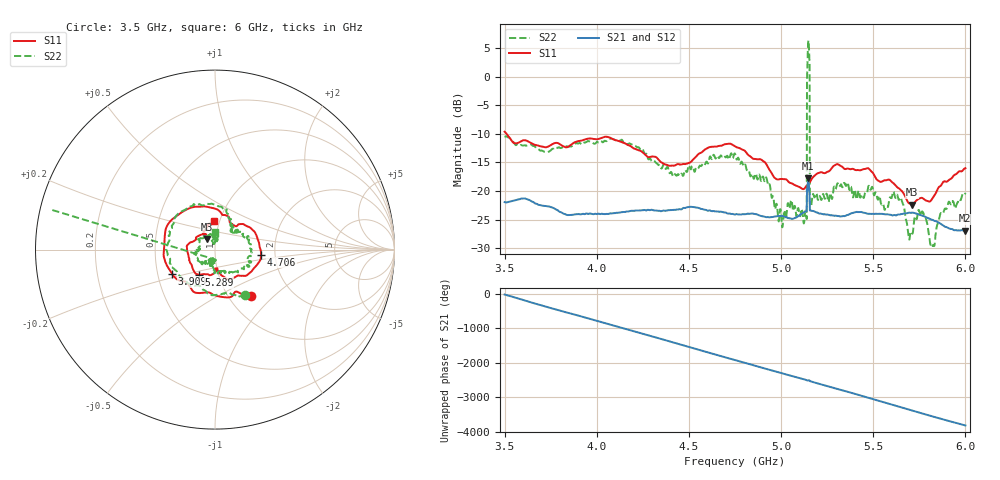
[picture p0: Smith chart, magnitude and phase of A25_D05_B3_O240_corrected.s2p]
! Created with skrf 1.9.0 (http://scikit-rf.org).
# Hz S RI R 50.0
!freq ReS11 ImS11 ReS21 ImS21 ReS12 ImS12 ReS22 ImS22
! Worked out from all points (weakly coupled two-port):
!   1601 points, 3.5 GHz to 6 GHz, reference 50 ohm
!   highest |S21| = -17.81 dB at 5.147 GHz (marker M1); lowest = -26.9 dB at 5.995 GHz (marker M2)
!   lowest |S11| = -22.4 dB at 5.711 GHz (marker M3), VSWR 1.16, Z = 45.2 + j5.42 ohm
!   |S11| at or under -10 dB: 3.511 GHz to end of sweep
!   |S22| runs from -29.7 to 6.3 dB; largest |S21 - S12| = 0.001
!   S11 on the Smith chart (normalised r, x): 3.5 GHz: 1.27, -0.74; 3.909 GHz: 0.60, -0.17; 4.706 GHz: 1.68, -0.10; 5.289 GHz: 0.80, -0.23; 6 GHz: 0.94, +0.30
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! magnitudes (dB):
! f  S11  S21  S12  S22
! 3.5 GHz  -9.6  -21.9  -21.9  -10.4
! 3.909 GHz  -11.2  -24.1  -24.0  -11.6
! 3.917 GHz  -11.2  -24.1  -24.0  -11.8
! 4.334 GHz  -14.5  -23.5  -23.4  -15.4
! 4.706 GHz  -11.8  -23.9  -23.8  -13.9
! 4.75 GHz  -12.2  -24.1  -24.0  -13.5
! 4.927 GHz  -15.7  -24.6  -24.6  -18.6
! 4.997 GHz  -17.9  -24.4  -24.4  -23.2
! 5.127 GHz  -19.6  -23.7  -23.7  -25.1
! 5.142 GHz  -19.0  -19.7  -19.6  1.3
! 5.147 GHz  -18.8  -17.8  -17.8  5.9
! 5.153 GHz  -18.6  -20.0  -20.0  3.7
! 5.167 GHz  -17.8  -23.5  -23.4  -21.7
! 5.289 GHz  -15.5  -24.3  -24.3  -19.2
! 5.584 GHz  -18.0  -24.1  -24.1  -22.0
! 5.641 GHz  -19.6  -24.1  -24.1  -21.5
! 5.711 GHz  -22.4  -23.8  -23.7  -27.4
! 5.773 GHz  -21.4  -24.4  -24.3  -24.0
! 5.822 GHz  -21.3  -25.1  -25.0  -29.5
! 5.873 GHz  -18.7  -25.9  -25.9  -23.9
! 5.995 GHz  -16.1  -26.9  -26.8  -20.6
! 6 GHz  -16.0  -26.9  -26.9  -20.3
